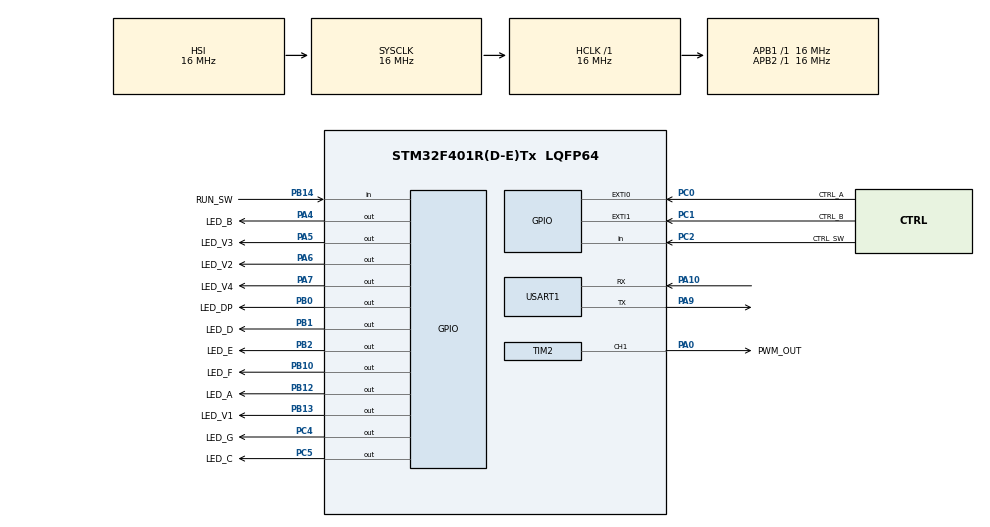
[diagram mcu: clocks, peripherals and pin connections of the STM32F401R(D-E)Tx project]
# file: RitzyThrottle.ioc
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Mcu.Family=STM32F4
Mcu.Name=STM32F401R(D-E)Tx
Mcu.Package=LQFP64
NVIC.EXTI0_IRQn=true\:0\:0\:false\:false\:true\:true\:true
NVIC.EXTI1_IRQn=true\:0\:0\:false\:false\:true\:true\:true
NVIC.PriorityGroup=NVIC_PRIORITYGROUP_4
PA0-WKUP.GPIO_Label=PWM_OUT
PA0-WKUP.Signal=S_TIM2_CH1_ETR
PA10.Mode=Asynchronous
PA10.Signal=USART1_RX
PA13.Mode=Serial_Wire
PA13.Signal=SYS_JTMS-SWDIO
PA14.Mode=Serial_Wire
PA14.Signal=SYS_JTCK-SWCLK
PA4.GPIO_Label=LED_B
PA4.Signal=GPIO_Output
PA5.GPIO_Label=LED_V3
PA5.Signal=GPIO_Output
PA6.GPIO_Label=LED_V2
PA6.Signal=GPIO_Output
PA7.GPIO_Label=LED_V4
PA7.Signal=GPIO_Output
PA9.Mode=Asynchronous
PA9.Signal=USART1_TX
PB0.GPIO_Label=LED_DP
PB0.Signal=GPIO_Output
PB1.GPIO_Label=LED_D
PB1.Signal=GPIO_Output
PB10.GPIO_Label=LED_F
PB10.Signal=GPIO_Output
PB12.GPIO_Label=LED_A
PB12.Signal=GPIO_Output
PB13.GPIO_Label=LED_V1
PB13.Signal=GPIO_Output
PB14.GPIO_Label=RUN_SW
PB14.Signal=GPIO_Input
PB2.GPIO_Label=LED_E
PB2.Signal=GPIO_Output
PC0.GPIO_Label=CTRL_A
PC0.GPIO_ModeDefaultEXTI=GPIO_MODE_IT_RISING_FALLING
PC0.Signal=GPXTI0
PC1.GPIO_Label=CTRL_B
PC1.GPIO_ModeDefaultEXTI=GPIO_MODE_IT_RISING_FALLING
PC1.Signal=GPXTI1
PC2.GPIO_Label=CTRL_SW
PC2.Signal=GPIO_Input
PC4.GPIO_Label=LED_G
PC4.Signal=GPIO_Output
PC5.GPIO_Label=LED_C
PC5.Signal=GPIO_Output
PH0\ -\ OSC_IN.Mode=HSE-External-Oscillator
PH0\ -\ OSC_IN.Signal=RCC_OSC_IN
PH1\ -\ OSC_OUT.Mode=HSE-External-Oscillator
PH1\ -\ OSC_OUT.Signal=RCC_OSC_OUT
ProjectManager.HeapSize=0x200
ProjectManager.StackSize=0x400
ProjectManager.TargetToolchain=STM32CubeIDE
RCC.48MHZClocksFreq_Value=48000000
RCC.AHBFreq_Value=16000000
RCC.APB1Freq_Value=16000000
RCC.APB1TimFreq_Value=16000000
RCC.APB2Freq_Value=16000000
RCC.APB2TimFreq_Value=16000000
RCC.CortexFreq_Value=16000000
RCC.HCLKFreq_Value=16000000
RCC.HSE_Timout=500
RCC.HSE_VALUE=24000000
RCC.HSICalibrationValue=25
RCC.HSI_VALUE=16000000
RCC.LSE_VALUE=32768
RCC.SYSCLKFreq_VALUE=16000000
RCC.VCOOutputFreq_Value=192000000
SH.S_TIM2_CH1_ETR.0=TIM2_CH1,PWM Generation1 CH1
TIM2.AutoReloadPreload=TIM_AUTORELOAD_PRELOAD_ENABLE
TIM2.Channel-PWM\ Generation1\ CH1=TIM_CHANNEL_1
TIM2.Period=80000
TIM2.Prescaler=1
USART1.VirtualMode=VM_ASYNC
VP_TIM2_VS_ClockSourceINT.Mode=Internal
board=custom

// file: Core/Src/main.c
/* USER CODE BEGIN Header */
/**
  ******************************************************************************
  * @file           : main.c
  * @brief          : Main program body
  ******************************************************************************
  * @attention
  *
  * Copyright (c) 2023 STMicroelectronics.
  * All rights reserved.
  *
  * This software is licensed under terms that can be found in the LICENSE file
  * in the root directory of this software component.
  * If no LICENSE file comes with this software, it is provided AS-IS.
  *
  ******************************************************************************
  */
/* USER CODE END Header */
#include "main.h"

TIM_HandleTypeDef htim2;

UART_HandleTypeDef huart1;

void SystemClock_Config(void);
static void MX_GPIO_Init(void);
static void MX_USART1_UART_Init(void);
static void MX_TIM2_Init(void);

/* USER CODE BEGIN 0 */

#define DIGIT_ON GPIO_PIN_SET
#define DIGIT_OFF GPIO_PIN_RESET
#define SEG_ON GPIO_PIN_RESET
#define SEG_OFF GPIO_PIN_SET

uint8_t curDigitIdx = 0;
double curOutputVal = 0.0;

char valToDigit(uint8_t idx, double val){
	int shownVal = round(val);
	int shownMag = abs(shownVal);
	int tmp =0;

	if(shownVal > 100){
		shownVal = 100;
	} else if(shownVal < -100){
		shownVal = -100;
	}

	switch(idx){
	case 3:
		// top just shows negative sign
		if(shownVal < 0){
			return '-';
		} else {
			return  ' ';
		}
	break;
	case 2:
		if(shownMag >= 100){
			tmp = shownMag % 1000;
			tmp = tmp / 100;
		    return floor(tmp) + '0';
		} else {
			return ' ';
		}
	break;
	case 1:
		if(shownMag >= 10){
			tmp = shownMag % 100;
			tmp = tmp / 10;
		    return floor(tmp) + '0';
		} else {
			return ' ';
		}
	break;
	case 0:
		tmp = shownMag % 10;
	    return floor(tmp) + '0';
	break;
	default:
		return ' ';
	break;
	}

}

void writeDigit(uint8_t idx, char val, bool hasDP){

	//Select the digit source line. SET provides power to the digit, RESET removes power
	HAL_GPIO_WritePin(LED_V1_GPIO_Port, LED_V1_Pin, (idx == 3) ? DIGIT_ON:DIGIT_OFF);
	HAL_GPIO_WritePin(LED_V2_GPIO_Port, LED_V2_Pin, (idx == 2) ? DIGIT_ON:DIGIT_OFF);
	HAL_GPIO_WritePin(LED_V3_GPIO_Port, LED_V3_Pin, (idx == 1) ? DIGIT_ON:DIGIT_OFF);
	HAL_GPIO_WritePin(LED_V4_GPIO_Port, LED_V4_Pin, (idx == 0) ? DIGIT_ON:DIGIT_OFF);

	// Always switch dp
	HAL_GPIO_WritePin(LED_DP_GPIO_Port, LED_DP_Pin, hasDP?SEG_ON:SEG_OFF);

	//Switch on supported characters on 7 segment display
	switch(val){
		case '0':
		  HAL_GPIO_WritePin(LED_A_GPIO_Port, LED_A_Pin, SEG_ON);
		  HAL_GPIO_WritePin(LED_B_GPIO_Port, LED_B_Pin, SEG_ON);
		  HAL_GPIO_WritePin(LED_C_GPIO_Port, LED_C_Pin, SEG_ON);
		  HAL_GPIO_WritePin(LED_D_GPIO_Port, LED_D_Pin, SEG_ON);
		  HAL_GPIO_WritePin(LED_E_GPIO_Port, LED_E_Pin, SEG_ON);
		  HAL_GPIO_WritePin(LED_F_GPIO_Port, LED_F_Pin, SEG_ON);
		  HAL_GPIO_WritePin(LED_G_GPIO_Port, LED_G_Pin, SEG_OFF);
		  break;
		case '1':
		  HAL_GPIO_WritePin(LED_A_GPIO_Port, LED_A_Pin, SEG_OFF);
		  HAL_GPIO_WritePin(LED_B_GPIO_Port, LED_B_Pin, SEG_ON);
		  HAL_GPIO_WritePin(LED_C_GPIO_Port, LED_C_Pin, SEG_ON);
		  HAL_GPIO_WritePin(LED_D_GPIO_Port, LED_D_Pin, SEG_OFF);
		  HAL_GPIO_WritePin(LED_E_GPIO_Port, LED_E_Pin, SEG_OFF);
		  HAL_GPIO_WritePin(LED_F_GPIO_Port, LED_F_Pin, SEG_OFF);
		  HAL_GPIO_WritePin(LED_G_GPIO_Port, LED_G_Pin, SEG_OFF);
		  break;
		case '2':
		  HAL_GPIO_WritePin(LED_A_GPIO_Port, LED_A_Pin, SEG_ON);
		  HAL_GPIO_WritePin(LED_B_GPIO_Port, LED_B_Pin, SEG_ON);
		  HAL_GPIO_WritePin(LED_C_GPIO_Port, LED_C_Pin, SEG_OFF);
		  HAL_GPIO_WritePin(LED_D_GPIO_Port, LED_D_Pin, SEG_ON);
		  HAL_GPIO_WritePin(LED_E_GPIO_Port, LED_E_Pin, SEG_ON);
		  HAL_GPIO_WritePin(LED_F_GPIO_Port, LED_F_Pin, SEG_OFF);
		  HAL_GPIO_WritePin(LED_G_GPIO_Port, LED_G_Pin, SEG_ON);
		  break;
		case '3':
		  HAL_GPIO_WritePin(LED_A_GPIO_Port, LED_A_Pin, SEG_ON);
		  HAL_GPIO_WritePin(LED_B_GPIO_Port, LED_B_Pin, SEG_ON);
		  HAL_GPIO_WritePin(LED_C_GPIO_Port, LED_C_Pin, SEG_ON);
		  HAL_GPIO_WritePin(LED_D_GPIO_Port, LED_D_Pin, SEG_ON);
		  HAL_GPIO_WritePin(LED_E_GPIO_Port, LED_E_Pin, SEG_OFF);
		  HAL_GPIO_WritePin(LED_F_GPIO_Port, LED_F_Pin, SEG_OFF);
		  HAL_GPIO_WritePin(LED_G_GPIO_Port, LED_G_Pin, SEG_ON);
		  break;
		case '4':
		  HAL_GPIO_WritePin(LED_A_GPIO_Port, LED_A_Pin, SEG_OFF);
		  HAL_GPIO_WritePin(LED_B_GPIO_Port, LED_B_Pin, SEG_ON);
		  HAL_GPIO_WritePin(LED_C_GPIO_Port, LED_C_Pin, SEG_ON);
		  HAL_GPIO_WritePin(LED_D_GPIO_Port, LED_D_Pin, SEG_OFF);
		  HAL_GPIO_WritePin(LED_E_GPIO_Port, LED_E_Pin, SEG_OFF);
		  HAL_GPIO_WritePin(LED_F_GPIO_Port, LED_F_Pin, SEG_ON);
		  HAL_GPIO_WritePin(LED_G_GPIO_Port, LED_G_Pin, SEG_ON);
		  break;
		case '5':
		  HAL_GPIO_WritePin(LED_A_GPIO_Port, LED_A_Pin, SEG_ON);
		  HAL_GPIO_WritePin(LED_B_GPIO_Port, LED_B_Pin, SEG_OFF);
		  HAL_GPIO_WritePin(LED_C_GPIO_Port, LED_C_Pin, SEG_ON);
		  HAL_GPIO_WritePin(LED_D_GPIO_Port, LED_D_Pin, SEG_ON);
		  HAL_GPIO_WritePin(LED_E_GPIO_Port, LED_E_Pin, SEG_OFF);
		  HAL_GPIO_WritePin(LED_F_GPIO_Port, LED_F_Pin, SEG_ON);
		  HAL_GPIO_WritePin(LED_G_GPIO_Port, LED_G_Pin, SEG_ON);
		  break;
		case '6':
		  HAL_GPIO_WritePin(LED_A_GPIO_Port, LED_A_Pin, SEG_ON);
		  HAL_GPIO_WritePin(LED_B_GPIO_Port, LED_B_Pin, SEG_OFF);
		  HAL_GPIO_WritePin(LED_C_GPIO_Port, LED_C_Pin, SEG_ON);
		  HAL_GPIO_WritePin(LED_D_GPIO_Port, LED_D_Pin, SEG_ON);
		  HAL_GPIO_WritePin(LED_E_GPIO_Port, LED_E_Pin, SEG_ON);
		  HAL_GPIO_WritePin(LED_F_GPIO_Port, LED_F_Pin, SEG_ON);
		  HAL_GPIO_WritePin(LED_G_GPIO_Port, LED_G_Pin, SEG_ON);
		  break;
		case '7':
		  HAL_GPIO_WritePin(LED_A_GPIO_Port, LED_A_Pin, SEG_ON);
		  HAL_GPIO_WritePin(LED_B_GPIO_Port, LED_B_Pin, SEG_ON);
		  HAL_GPIO_WritePin(LED_C_GPIO_Port, LED_C_Pin, SEG_ON);
		  HAL_GPIO_WritePin(LED_D_GPIO_Port, LED_D_Pin, SEG_OFF);
		  HAL_GPIO_WritePin(LED_E_GPIO_Port, LED_E_Pin, SEG_OFF);
		  HAL_GPIO_WritePin(LED_F_GPIO_Port, LED_F_Pin, SEG_OFF);
		  HAL_GPIO_WritePin(LED_G_GPIO_Port, LED_G_Pin, SEG_OFF);
		  break;
		case '8':
		  HAL_GPIO_WritePin(LED_A_GPIO_Port, LED_A_Pin, SEG_ON);
		  HAL_GPIO_WritePin(LED_B_GPIO_Port, LED_B_Pin, SEG_ON);
		  HAL_GPIO_WritePin(LED_C_GPIO_Port, LED_C_Pin, SEG_ON);
		  HAL_GPIO_WritePin(LED_D_GPIO_Port, LED_D_Pin, SEG_ON);
		  HAL_GPIO_WritePin(LED_E_GPIO_Port, LED_E_Pin, SEG_ON);
		  HAL_GPIO_WritePin(LED_F_GPIO_Port, LED_F_Pin, SEG_ON);
		  HAL_GPIO_WritePin(LED_G_GPIO_Port, LED_G_Pin, SEG_ON);
		  break;
		case '9':
		  HAL_GPIO_WritePin(LED_A_GPIO_Port, LED_A_Pin, SEG_ON);
		  HAL_GPIO_WritePin(LED_B_GPIO_Port, LED_B_Pin, SEG_ON);
		  HAL_GPIO_WritePin(LED_C_GPIO_Port, LED_C_Pin, SEG_ON);
		  HAL_GPIO_WritePin(LED_D_GPIO_Port, LED_D_Pin, SEG_OFF);
		  HAL_GPIO_WritePin(LED_E_GPIO_Port, LED_E_Pin, SEG_OFF);
		  HAL_GPIO_WritePin(LED_F_GPIO_Port, LED_F_Pin, SEG_ON);
		  HAL_GPIO_WritePin(LED_G_GPIO_Port, LED_G_Pin, SEG_ON);
		  break;
		case '-':
		  HAL_GPIO_WritePin(LED_A_GPIO_Port, LED_A_Pin, SEG_OFF);
		  HAL_GPIO_WritePin(LED_B_GPIO_Port, LED_B_Pin, SEG_OFF);
		  HAL_GPIO_WritePin(LED_C_GPIO_Port, LED_C_Pin, SEG_OFF);
		  HAL_GPIO_WritePin(LED_D_GPIO_Port, LED_D_Pin, SEG_OFF);
		  HAL_GPIO_WritePin(LED_E_GPIO_Port, LED_E_Pin, SEG_OFF);
		  HAL_GPIO_WritePin(LED_F_GPIO_Port, LED_F_Pin, SEG_OFF);
		  HAL_GPIO_WritePin(LED_G_GPIO_Port, LED_G_Pin, SEG_ON);
		  break;
		default:
		  HAL_GPIO_WritePin(LED_A_GPIO_Port, LED_A_Pin, SEG_OFF);
		  HAL_GPIO_WritePin(LED_B_GPIO_Port, LED_B_Pin, SEG_OFF);
		  HAL_GPIO_WritePin(LED_C_GPIO_Port, LED_C_Pin, SEG_OFF);
		  HAL_GPIO_WritePin(LED_D_GPIO_Port, LED_D_Pin, SEG_OFF);
		  HAL_GPIO_WritePin(LED_E_GPIO_Port, LED_E_Pin, SEG_OFF);
		  HAL_GPIO_WritePin(LED_F_GPIO_Port, LED_F_Pin, SEG_OFF);
		  HAL_GPIO_WritePin(LED_G_GPIO_Port, LED_G_Pin, SEG_OFF);
		  break;
	}

}

int8_t prevState = 0;
uint32_t prevIntTime = 0;
//from https://cdn.sparkfun.com/datasheets/Robotics/How%20to%20use%20a%20quadrature%20encoder.pdf
static int8_t QEM[16] = {0,-1,1,0,1,0,0,-1,-1,0,0,1,0,1,-1,0};
uint8_t preventZeroCrossing = 0;

bool pinAVal = false;
uint32_t pinAChangeTime = 0;
bool pinBVal = false;
uint32_t pinBChangeTime = 0;

//interrupt handler for dial
void HAL_GPIO_EXTI_Callback(uint16_t GPIO_Pin){
	uint32_t curIntTime = HAL_GetTick();

	bool pinAVal = HAL_GPIO_ReadPin(CTRL_A_GPIO_Port, CTRL_A_Pin) == GPIO_PIN_RESET;
	bool pinBVal = HAL_GPIO_ReadPin(CTRL_B_GPIO_Port, CTRL_B_Pin) == GPIO_PIN_RESET;

	int8_t curState =  pinAVal?2:0 + pinBVal?1:0;

	double interruptPeriod_ms = curIntTime - prevIntTime;

	int8_t adj = 0.0;

	if(curState != prevState){
		adj = QEM[prevState*4 + curState];
	}

	double prevOutputVal = curOutputVal;

	// Apply delta to channel
	curOutputVal += ((double)adj) ;

	// Limit min/max
	if(curOutputVal > 100.0){
		curOutputVal = 100.0;
	} else if (curOutputVal < -100.0){
		curOutputVal = -100.0;
	}

	//The v2 board doesn't have a center press button, so also stop at zero if the dial is spun quickly
	if(interruptPeriod_ms < 150.0){
		preventZeroCrossing = 1;
	} else if(interruptPeriod_ms > 300.0){
		preventZeroCrossing = 0;
	}

	if(preventZeroCrossing){

		if(prevOutputVal >= 0.0 && curOutputVal < 0.0){
			curOutputVal = 0.0;
		}

		if(prevOutputVal <= 0.0 && curOutputVal > 0.0){
			curOutputVal = 0.0;
		}

	}

	prevState = curState;
	prevIntTime = curIntTime;

}

/* USER CODE END 0 */

int main(void)
{

  /* MCU Configuration--------------------------------------------------------*/

  /* Reset of all peripherals, Initializes the Flash interface and the Systick. */
  HAL_Init();

  /* Configure the system clock */
  SystemClock_Config();

  /* Initialize all configured peripherals */
  MX_GPIO_Init();
  MX_USART1_UART_Init();
  MX_TIM2_Init();
  /* USER CODE BEGIN 2 */
  HAL_TIM_PWM_Start(&htim2, TIM_CHANNEL_1);
  /* USER CODE END 2 */

  /* Infinite loop */
  /* USER CODE BEGIN WHILE */
  while (1)
  {
	  //Handle value reset
	  GPIO_PinState ctrlSwitchState = HAL_GPIO_ReadPin(CTRL_SW_GPIO_Port, CTRL_SW_Pin);
	  if(ctrlSwitchState==GPIO_PIN_RESET){
		  curOutputVal = 0.0;
	  }

	  // Handle run switch
	  GPIO_PinState runSwitchState = HAL_GPIO_ReadPin(RUN_SW_GPIO_Port, RUN_SW_Pin);
	  bool shouldRun = runSwitchState==GPIO_PIN_RESET;

	  if(shouldRun){
		  TIM2->CCR1 = round(8300.0 * (1.5 + 0.5 * curOutputVal/100.0)); //CMG - I have exactly zero clue how theses conversion factors work. 8300 is magic
	  } else {
		  TIM2->CCR1 = 0;
	  }

	  //handle display outputs
	  writeDigit(curDigitIdx, valToDigit(curDigitIdx, curOutputVal), shouldRun);
	  curDigitIdx = (curDigitIdx + 1)%4;
	  HAL_Delay(5); //world's worst rtos
    /* USER CODE END WHILE */

  }
}

void SystemClock_Config(void)
{
  RCC_OscInitTypeDef RCC_OscInitStruct = {0};
  RCC_ClkInitTypeDef RCC_ClkInitStruct = {0};

  /** Configure the main internal regulator output voltage
  */
  __HAL_RCC_PWR_CLK_ENABLE();
  __HAL_PWR_VOLTAGESCALING_CONFIG(PWR_REGULATOR_VOLTAGE_SCALE2);
  /** Initializes the RCC Oscillators according to the specified parameters
  * in the RCC_OscInitTypeDef structure.
  */
  RCC_OscInitStruct.OscillatorType = RCC_OSCILLATORTYPE_HSI;
  RCC_OscInitStruct.HSIState = RCC_HSI_ON;
  RCC_OscInitStruct.HSICalibrationValue = 25;
  RCC_OscInitStruct.PLL.PLLState = RCC_PLL_NONE;
  if (HAL_RCC_OscConfig(&RCC_OscInitStruct) != HAL_OK)
  {
    Error_Handler();
  }
  /** Initializes the CPU, AHB and APB buses clocks
  */
  RCC_ClkInitStruct.ClockType = RCC_CLOCKTYPE_HCLK|RCC_CLOCKTYPE_SYSCLK
                              |RCC_CLOCKTYPE_PCLK1|RCC_CLOCKTYPE_PCLK2;
  RCC_ClkInitStruct.SYSCLKSource = RCC_SYSCLKSOURCE_HSI;
  RCC_ClkInitStruct.AHBCLKDivider = RCC_SYSCLK_DIV1;
  RCC_ClkInitStruct.APB1CLKDivider = RCC_HCLK_DIV1;
  RCC_ClkInitStruct.APB2CLKDivider = RCC_HCLK_DIV1;

  if (HAL_RCC_ClockConfig(&RCC_ClkInitStruct, FLASH_LATENCY_0) != HAL_OK)
  {
    Error_Handler();
  }
}

static void MX_TIM2_Init(void)
{

  TIM_ClockConfigTypeDef sClockSourceConfig = {0};
  TIM_MasterConfigTypeDef sMasterConfig = {0};
  TIM_OC_InitTypeDef sConfigOC = {0};

  htim2.Instance = TIM2;
  htim2.Init.Prescaler = 1;
  htim2.Init.CounterMode = TIM_COUNTERMODE_UP;
  htim2.Init.Period = 80000;
  htim2.Init.ClockDivision = TIM_CLOCKDIVISION_DIV1;
  htim2.Init.AutoReloadPreload = TIM_AUTORELOAD_PRELOAD_ENABLE;
  if (HAL_TIM_Base_Init(&htim2) != HAL_OK)
  {
    Error_Handler();
  }
  sClockSourceConfig.ClockSource = TIM_CLOCKSOURCE_INTERNAL;
  if (HAL_TIM_ConfigClockSource(&htim2, &sClockSourceConfig) != HAL_OK)
  {
    Error_Handler();
  }
  if (HAL_TIM_PWM_Init(&htim2) != HAL_OK)
  {
    Error_Handler();
  }
  sMasterConfig.MasterOutputTrigger = TIM_TRGO_RESET;
  sMasterConfig.MasterSlaveMode = TIM_MASTERSLAVEMODE_DISABLE;
  if (HAL_TIMEx_MasterConfigSynchronization(&htim2, &sMasterConfig) != HAL_OK)
  {
    Error_Handler();
  }
  sConfigOC.OCMode = TIM_OCMODE_PWM1;
  sConfigOC.Pulse = 0;
  sConfigOC.OCPolarity = TIM_OCPOLARITY_HIGH;
  sConfigOC.OCFastMode = TIM_OCFAST_DISABLE;
  if (HAL_TIM_PWM_ConfigChannel(&htim2, &sConfigOC, TIM_CHANNEL_1) != HAL_OK)
  {
    Error_Handler();
  }
  HAL_TIM_MspPostInit(&htim2);

}

static void MX_USART1_UART_Init(void)
{

  huart1.Instance = USART1;
  huart1.Init.BaudRate = 115200;
  huart1.Init.WordLength = UART_WORDLENGTH_8B;
  huart1.Init.StopBits = UART_STOPBITS_1;
  huart1.Init.Parity = UART_PARITY_NONE;
  huart1.Init.Mode = UART_MODE_TX_RX;
  huart1.Init.HwFlowCtl = UART_HWCONTROL_NONE;
  huart1.Init.OverSampling = UART_OVERSAMPLING_16;
  if (HAL_UART_Init(&huart1) != HAL_OK)
  {
    Error_Handler();
  }

}

static void MX_GPIO_Init(void)
{
  GPIO_InitTypeDef GPIO_InitStruct = {0};

  /* GPIO Ports Clock Enable */
  __HAL_RCC_GPIOH_CLK_ENABLE();
  __HAL_RCC_GPIOC_CLK_ENABLE();
  __HAL_RCC_GPIOA_CLK_ENABLE();
  __HAL_RCC_GPIOB_CLK_ENABLE();

  /*Configure GPIO pin Output Level */
  HAL_GPIO_WritePin(GPIOA, LED_B_Pin|LED_V3_Pin|LED_V2_Pin|LED_V4_Pin, GPIO_PIN_RESET);

  /*Configure GPIO pin Output Level */
  HAL_GPIO_WritePin(GPIOC, LED_G_Pin|LED_C_Pin, GPIO_PIN_RESET);

  /*Configure GPIO pin Output Level */
  HAL_GPIO_WritePin(GPIOB, LED_DP_Pin|LED_D_Pin|LED_E_Pin|LED_F_Pin
                          |LED_A_Pin|LED_V1_Pin, GPIO_PIN_RESET);

  /*Configure GPIO pins : CTRL_A_Pin CTRL_B_Pin */
  GPIO_InitStruct.Pin = CTRL_A_Pin|CTRL_B_Pin;
  GPIO_InitStruct.Mode = GPIO_MODE_IT_RISING_FALLING;
  GPIO_InitStruct.Pull = GPIO_NOPULL;
  HAL_GPIO_Init(GPIOC, &GPIO_InitStruct);

  /*Configure GPIO pin : CTRL_SW_Pin */
  GPIO_InitStruct.Pin = CTRL_SW_Pin;
  GPIO_InitStruct.Mode = GPIO_MODE_INPUT;
  GPIO_InitStruct.Pull = GPIO_NOPULL;
  HAL_GPIO_Init(CTRL_SW_GPIO_Port, &GPIO_InitStruct);

  /*Configure GPIO pins : LED_B_Pin LED_V3_Pin LED_V2_Pin LED_V4_Pin */
  GPIO_InitStruct.Pin = LED_B_Pin|LED_V3_Pin|LED_V2_Pin|LED_V4_Pin;
  GPIO_InitStruct.Mode = GPIO_MODE_OUTPUT_PP;
  GPIO_InitStruct.Pull = GPIO_NOPULL;
  GPIO_InitStruct.Speed = GPIO_SPEED_FREQ_LOW;
  HAL_GPIO_Init(GPIOA, &GPIO_InitStruct);

  /*Configure GPIO pins : LED_G_Pin LED_C_Pin */
  GPIO_InitStruct.Pin = LED_G_Pin|LED_C_Pin;
  GPIO_InitStruct.Mode = GPIO_MODE_OUTPUT_PP;
  GPIO_InitStruct.Pull = GPIO_NOPULL;
  GPIO_InitStruct.Speed = GPIO_SPEED_FREQ_LOW;
  HAL_GPIO_Init(GPIOC, &GPIO_InitStruct);

  /*Configure GPIO pins : LED_DP_Pin LED_D_Pin LED_E_Pin LED_F_Pin
                           LED_A_Pin LED_V1_Pin */
  GPIO_InitStruct.Pin = LED_DP_Pin|LED_D_Pin|LED_E_Pin|LED_F_Pin
                          |LED_A_Pin|LED_V1_Pin;
  GPIO_InitStruct.Mode = GPIO_MODE_OUTPUT_PP;
  GPIO_InitStruct.Pull = GPIO_NOPULL;
  GPIO_InitStruct.Speed = GPIO_SPEED_FREQ_LOW;
  HAL_GPIO_Init(GPIOB, &GPIO_InitStruct);

  /*Configure GPIO pin : RUN_SW_Pin */
  GPIO_InitStruct.Pin = RUN_SW_Pin;
  GPIO_InitStruct.Mode = GPIO_MODE_INPUT;
  GPIO_InitStruct.Pull = GPIO_NOPULL;
  HAL_GPIO_Init(RUN_SW_GPIO_Port, &GPIO_InitStruct);

  /* EXTI interrupt init*/
  HAL_NVIC_SetPriority(EXTI0_IRQn, 0, 0);
  HAL_NVIC_EnableIRQ(EXTI0_IRQn);

  HAL_NVIC_SetPriority(EXTI1_IRQn, 0, 0);
  HAL_NVIC_EnableIRQ(EXTI1_IRQn);

}

void Error_Handler(void)
{
  __disable_irq();
  while (1)
  {
  }
}
